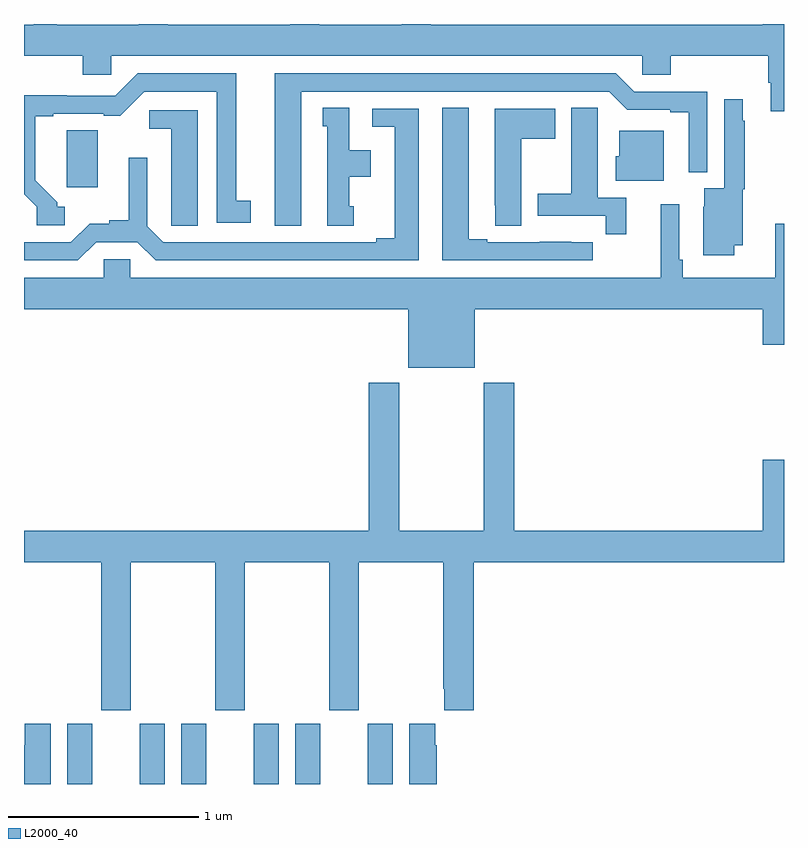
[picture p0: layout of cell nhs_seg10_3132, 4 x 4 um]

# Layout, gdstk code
import gdstk
lib = gdstk.Library(unit=1e-6, precision=1e-09)
def R(c, l, rs):  # rectangles x0, y0, x1, y1
    for r in rs: c.add(gdstk.rectangle(r[:2], r[2:], *l))
def P(c, l, *ps):  # polygons
    for p in ps: c.add(gdstk.Polygon(p, *l))
L2000_40 = (2000, 40)

nhs_seg10_3132 = lib.new_cell('nhs_seg10_3132')
R(nhs_seg10_3132, L2000_40, [(281.228,1280.5,281.359,1280.818), (281.609,1280.5,281.74,1280.818), (281.828,1280.5,281.959,1280.818), (282.209,1280.5,282.34,1280.818), (282.428,1280.5,282.559,1280.818), (282.809,1280.5,282.94,1280.818)])
P(nhs_seg10_3132, L2000_40, [(285,1284.5),(284.888,1284.5),(284.888,1284.496),(283.142,1284.496),(283.142,1284.5),(282.989,1284.5),(282.989,1284.496),(282.553,1284.496),(282.553,1284.5),(282.401,1284.5),(282.401,1284.496),(281.756,1284.496),(281.756,1284.5),(281.603,1284.5),(281.603,1284.496),(281.173,1284.496),(281.173,1284.5),(281.051,1284.5),(281.051,1284.496),(281,1284.496),(281,1284.332),(281.309,1284.332),(281.309,1284.234),(281.46,1284.234),(281.46,1284.332),(284.253,1284.332),(284.253,1284.234),(284.405,1284.234),(284.405,1284.332),(284.918,1284.332),(284.918,1284.19),(284.93,1284.19),(284.93,1284.042),(285,1284.042)],
  [(281.215,1283.538),(281.176,1283.538),(281.176,1283.562),(281.059,1283.678),(281.059,1284.015),(281.155,1284.015),(281.155,1284.027),(281.42,1284.027),(281.42,1284.016),(281.506,1284.016),(281.634,1284.144),(282.014,1284.144),(282.014,1283.454),(282.193,1283.454),(282.193,1283.57),(282.118,1283.57),(282.118,1284.24),(281.598,1284.24),(281.481,1284.123),(281.225,1284.123),(281.225,1284.125),(281,1284.125),(281,1283.605),(281.067,1283.538),(281.067,1283.442),(281.215,1283.442)],
  [(282.46,1284.144),(284.079,1284.144),(284.175,1284.048),(284.402,1284.048),(284.402,1284.036),(284.498,1284.036),(284.498,1283.72),(284.595,1283.72),(284.595,1284.144),(284.211,1284.144),(284.115,1284.24),(282.32,1284.24),(282.32,1283.439),(282.46,1283.439)],
  [(284.737,1283.336),(284.782,1283.336),(284.782,1283.631),(284.794,1283.631),(284.794,1283.99),(284.782,1283.99),(284.782,1284.103),(284.685,1284.103),(284.685,1283.635),(284.579,1283.635),(284.579,1283.538),(284.576,1283.538),(284.576,1283.283),(284.737,1283.283)],
  [(284.171,1283.586),(284.02,1283.586),(284.02,1283.948),(284.019,1283.948),(284.019,1284.059),(283.88,1284.059),(283.88,1283.607),(283.703,1283.607),(283.703,1283.49),(284.062,1283.49),(284.062,1283.394),(284.171,1283.394)],
  [(283.993,1283.352),(283.88,1283.352),(283.88,1283.353),(283.714,1283.353),(283.714,1283.352),(283.438,1283.352),(283.438,1283.367),(283.342,1283.367),(283.342,1284.059),(283.202,1284.059),(283.202,1283.256),(283.993,1283.256)],
  [(282.736,1283.541),(282.712,1283.541),(282.712,1283.696),(282.826,1283.696),(282.826,1283.836),(282.712,1283.836),(282.712,1284.059),(282.572,1284.059),(282.572,1283.961),(282.596,1283.961),(282.596,1283.439),(282.736,1283.439)],
  [(283.618,1283.896),(283.795,1283.896),(283.795,1284.055),(283.478,1284.055),(283.478,1283.545),(283.479,1283.545),(283.479,1283.437),(283.618,1283.437)],
  [(281.379,1283.352),(281.597,1283.352),(281.693,1283.256),(283.078,1283.256),(283.078,1284.054),(282.834,1284.054),(282.834,1283.958),(282.95,1283.958),(282.95,1283.372),(282.854,1283.372),(282.854,1283.352),(281.733,1283.352),(281.649,1283.436),(281.649,1283.797),(281.552,1283.797),(281.552,1283.468),(281.448,1283.468),(281.448,1283.45),(281.345,1283.45),(281.247,1283.352),(281,1283.352),(281,1283.256),(281.283,1283.256)],
  [(281.914,1284.045),(281.658,1284.045),(281.658,1283.948),(281.774,1283.948),(281.774,1283.545),(281.775,1283.545),(281.775,1283.437),(281.914,1283.437)],
  [(281.389,1283.784),(281.388,1283.784),(281.388,1283.942),(281.225,1283.942),(281.225,1283.64),(281.389,1283.64)],
  [(284.368,1283.938),(284.132,1283.938),(284.132,1283.805),(284.114,1283.805),(284.114,1283.675),(284.368,1283.675)],
  [(283.372,1283),(284.888,1283),(284.888,1282.812),(285,1282.812),(285,1283.449),(284.954,1283.449),(284.954,1283.164),(284.468,1283.164),(284.468,1283.26),(284.448,1283.26),(284.448,1283.551),(284.351,1283.551),(284.351,1283.164),(281.559,1283.164),(281.559,1283.262),(281.421,1283.262),(281.421,1283.164),(281,1283.164),(281,1283),(283.022,1283),(283.022,1282.691),(283.372,1282.691)],
  [(281.562,1281.668),(282.007,1281.668),(282.007,1280.889),(282.162,1280.889),(282.162,1281.668),(282.607,1281.668),(282.607,1280.889),(282.762,1280.889),(282.762,1281.668),(283.207,1281.668),(283.207,1281.001),(283.211,1281.001),(283.211,1280.889),(283.367,1280.889),(283.367,1281.668),(285,1281.668),(285,1282.207),(284.888,1282.207),(284.888,1281.832),(283.58,1281.832),(283.58,1282.612),(283.42,1282.612),(283.42,1281.832),(282.975,1281.832),(282.975,1282.612),(282.815,1282.612),(282.815,1281.832),(281,1281.832),(281,1281.668),(281.407,1281.668),(281.407,1280.889),(281.562,1280.889)],
  [(281.14,1280.818),(281.003,1280.818),(281.003,1280.705),(281,1280.705),(281,1280.5),(281.14,1280.5)],
  [(283.172,1280.705),(283.165,1280.705),(283.165,1280.818),(283.028,1280.818),(283.028,1280.5),(283.172,1280.5)])

lib.write_gds('nhs_seg10_3132.gds')
